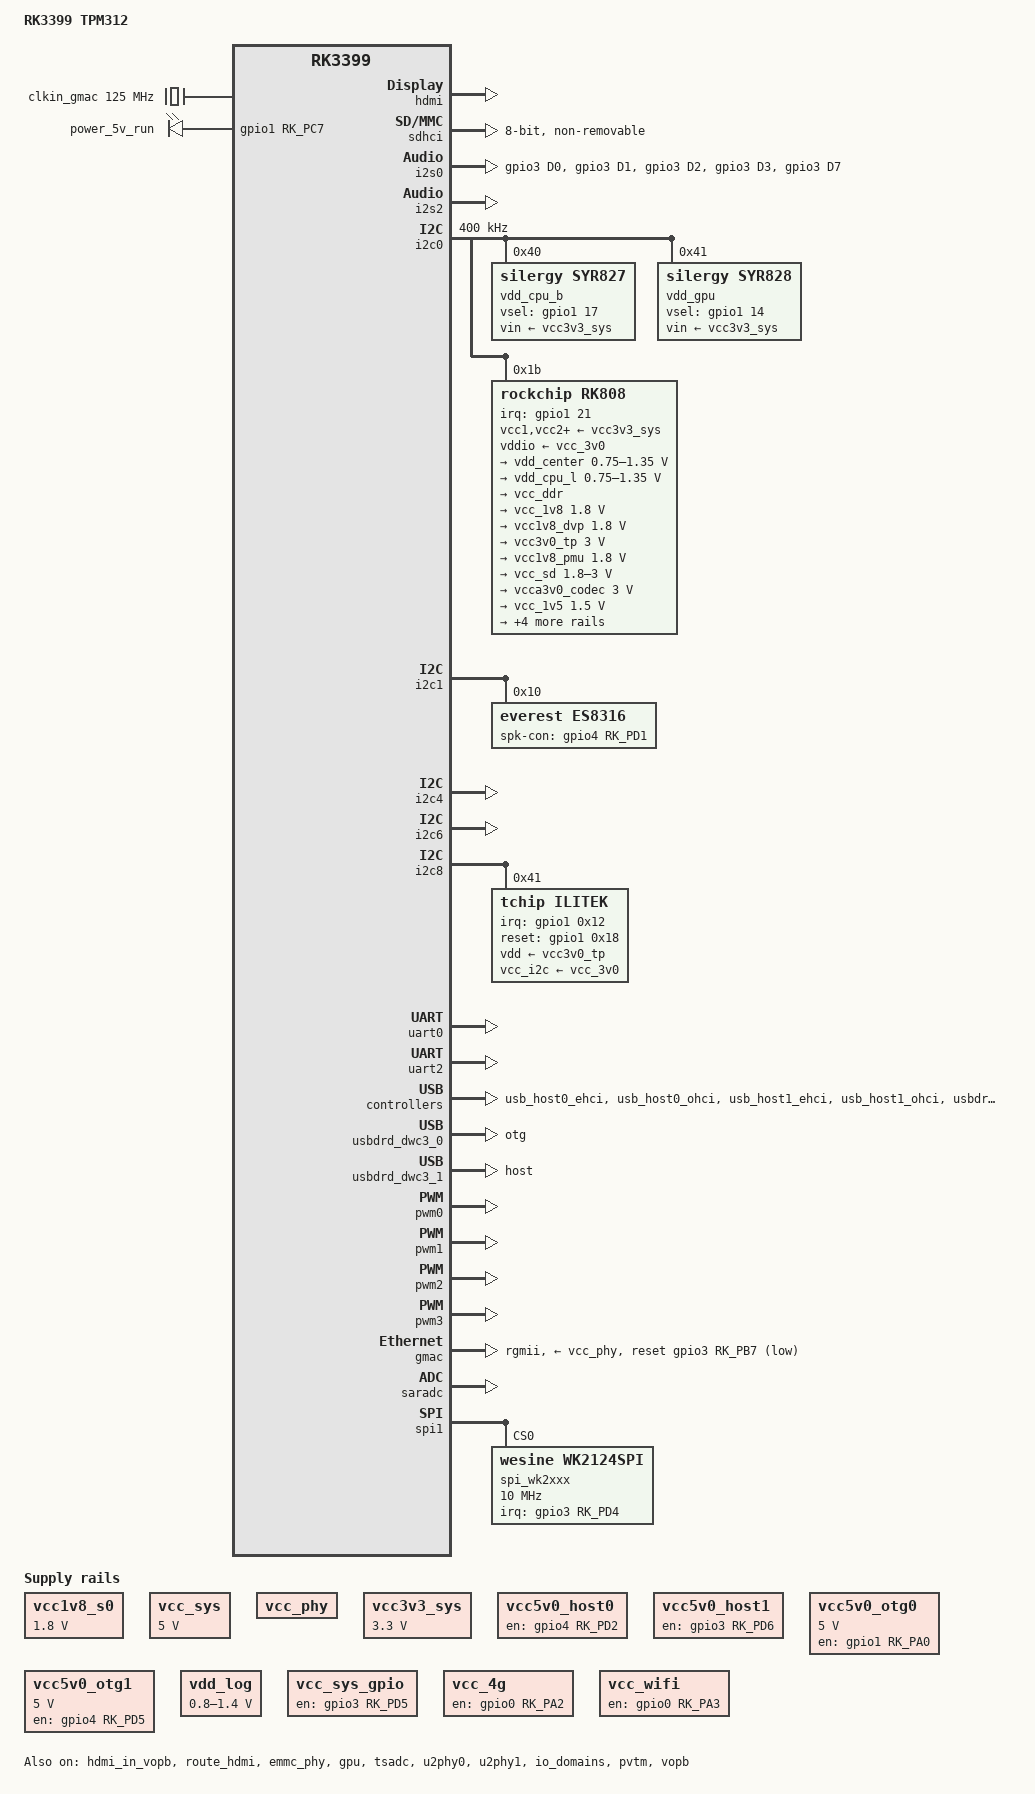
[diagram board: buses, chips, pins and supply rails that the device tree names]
/dts-v1/;

#include <dt-bindings/pwm/pwm.h>
#include <dt-bindings/input/input.h>
#include "rk3399.dtsi"
#include "rk3399-android.dtsi"
#include "rk3399-opp.dtsi"
#include "rk3399-vop-clk-set.dtsi"

&firmware_android {
	compatible = "android,firmware";
	boot_devices = "fe330000.sdhci";
	vbmeta {
		compatible = "android,vbmeta";
		parts = "vbmeta,boot,system,vendor,dtbo";
	};
	fstab {
		compatible = "android,fstab";
		vendor {
			compatible = "android,vendor";
			dev = "/dev/block/by-name/vendor";
			type = "ext4";
			mnt_flags = "ro,barrier=1,inode_readahead_blks=8";
			fsmgr_flags = "wait,avb";
		};
	};
};

/ {
	model = "RK3399 TPM312";
	compatible = "rk3399,tpm312", "rockchip,rk3399";
	chosen {
		bootargs = "earlycon=uart8250,mmio32,0xff1a0000 swiotlb=1 console=ttyFIQ0 androidboot.baseband=N/A androidboot.veritymode=enforcing androidboot.hardware=rk30board androidboot.console=ttyFIQ0 init=/init initrd=0x62000001,0x00800000 coherent_pool=1m";
	};

	vcc1v8_s0: vcc1v8-s0 {
		compatible = "regulator-fixed";
		regulator-name = "vcc1v8_s0";
		regulator-min-microvolt = <1800000>;
		regulator-max-microvolt = <1800000>;
		regulator-always-on;
	};

	vcc_sys: vcc-sys {
		compatible = "regulator-fixed";
		regulator-name = "vcc_sys";
		regulator-min-microvolt = <5000000>;
		regulator-max-microvolt = <5000000>;
		regulator-always-on;
	};

	vcc_phy: vcc-phy-regulator {
		compatible = "regulator-fixed";
		regulator-name = "vcc_phy";
		regulator-always-on;
		regulator-boot-on;
	};

	vcc3v3_sys: vcc3v3-sys {
		compatible = "regulator-fixed";
		regulator-name = "vcc3v3_sys";
		regulator-min-microvolt = <3300000>;
		regulator-max-microvolt = <3300000>;
		regulator-always-on;
	};

	vcc5v0_host0: vcc5v0-host0-regulator {
		pinctrl-0 = <&host0_vbus_drv>;
		gpio = <&gpio4 RK_PD2 GPIO_ACTIVE_HIGH>;
		regulator-name = "vcc5v0_host0";
		enable-active-high;
		compatible = "regulator-fixed";
		pinctrl-names = "default";
		regulator-always-on;
	};

	vcc5v0_host1: vcc5v0-host1-regulator {
		pinctrl-0 = <&host1_vbus_drv>;
		gpio = <&gpio3 RK_PD6 GPIO_ACTIVE_HIGH>;
		regulator-name = "vcc5v0_host1";
		enable-active-high;
		compatible = "regulator-fixed";
		pinctrl-names = "default";
		regulator-always-on;
	};

	vcc5v0_otg0: vcc5v0-otg0-regulator {
		pinctrl-0 = <&otg0_vbus_drv>;
		gpio = <&gpio1 RK_PA0 GPIO_ACTIVE_HIGH>;
		regulator-name = "vcc5v0_otg0";
		compatible = "regulator-fixed";
		pinctrl-names = "default";
		regulator-min-microvolt = <5000000>;
		regulator-max-microvolt = <5000000>;
		enable-active-high;
		//regulator-always-on;
	};

	vcc5v0_otg1: vcc5v0-otg1-regulator {
		pinctrl-0 = <&otg1_vbus_drv>;
		gpio = <&gpio4 RK_PD5 GPIO_ACTIVE_HIGH>;
		regulator-name = "vcc5v0_otg1";
		compatible = "regulator-fixed";
		pinctrl-names = "default";
		regulator-min-microvolt = <5000000>;
		regulator-max-microvolt = <5000000>;
		enable-active-high;
		//regulator-always-on;
	};

	vdd_log: vdd-log {
		compatible = "pwm-regulator";
		pwms = <&pwm3 0 25000 1>;
		regulator-name = "vdd_log";
		regulator-min-microvolt = <800000>;
		regulator-max-microvolt = <1400000>;
		regulator-always-on;
		regulator-boot-on;
		rockchip,pwm_id = <3>;
		rockchip,pwm_voltage = <900000>;
	};



	clkin_gmac: external-gmac-clock {
		compatible = "fixed-clock";
		clock-frequency = <125000000>;
		clock-output-names = "clkin_gmac";
		#clock-cells = <0>;
	};

	es8316-sound {
		compatible = "simple-audio-card";
		simple-audio-card,format = "i2s";
		simple-audio-card,name = "rockchip,es8316-codec";
		simple-audio-card,mclk-fs = <256>;
		simple-audio-card,widgets =
			"Microphone", "Mic Jack",
			"Headphone", "Headphone Jack";
		simple-audio-card,routing =
			"Mic Jack", "MICBIAS1",
			"IN1P", "Mic Jack",
			"Headphone Jack", "HPOL",
			"Headphone Jack", "HPOR";
		simple-audio-card,cpu {
			sound-dai = <&i2s0>;
		};
		simple-audio-card,codec {
			sound-dai = <&es8316>;
		};
	};

	hdmi_sound: hdmi-sound {
		status = "okay";
		compatible = "simple-audio-card";
		simple-audio-card,format = "i2s";
		simple-audio-card,mclk-fs = <256>;
		simple-audio-card,name = "rockchip,hdmi";

		simple-audio-card,cpu {
			sound-dai = <&i2s2>;
		};
		simple-audio-card,codec {
			sound-dai = <&dw_hdmi_audio>;
		};
	};

	dw_hdmi_audio: dw-hdmi-audio {
		status = "okay";
		compatible = "rockchip,dw-hdmi-audio";
		#sound-dai-cells = <0>;
	};

	hdmi_codec: hdmi-codec {
		compatible = "simple-audio-card";
		simple-audio-card,format = "i2s";
		simple-audio-card,mclk-fs = <256>;
		simple-audio-card,name = "rockchiphdmi";

		simple-audio-card,cpu {
			sound-dai = <&i2s2>;
		};

		simple-audio-card,codec {
			sound-dai = <&hdmi>;
		};
	};

    leds {
		compatible = "gpio-leds";
        pinctrl-names = "default";
		pinctrl-0 = <&leds_pins>;
		power5v-led {
	        gpios = <&gpio1 RK_PC7 GPIO_ACTIVE_HIGH>;
			default-state = "on";
			label = "power_5v_run";
		};
	};

	vcc5v0-sys {
		regulator-boot-on;
		pinctrl-0 = <&vcc5sys_gpio>;
		gpio = <&gpio3 RK_PD5 GPIO_ACTIVE_HIGH>;
		regulator-name = "vcc_sys_gpio";
		enable-active-high;
		compatible = "regulator-fixed";
		pinctrl-names = "default";
		regulator-always-on;
	};

	vcc-4g {
		regulator-boot-on;
		pinctrl-0 = <&vcc_4g_gpio>;
		gpio = <&gpio0 RK_PA2 GPIO_ACTIVE_HIGH>;
		regulator-name = "vcc_4g";
		enable-active-high;
		compatible = "regulator-fixed";
		pinctrl-names = "default";
		regulator-always-on;
	};

	vcc-wifi {
		pinctrl-0 = <&wifi_host_wake_l>;
		gpio = <&gpio0 RK_PA3 GPIO_ACTIVE_HIGH>;
		regulator-name = "vcc_wifi";
		enable-active-high;
		compatible = "regulator-fixed";
		pinctrl-names = "default";
		regulator-always-on;
	};

	test-power {
		status = "okay";
	};
};

&hdmi {
	pinctrl-names = "default";
	pinctrl-0 = <&hdmi_i2c_xfer>, <&hdmi_cec>;
	status = "okay";
	rockchip,phy-table =
		<74250000 0x8009 0x0004 0x0272>,
		<165000000 0x802b 0x0004 0x0209>,
		<297000000 0x8039 0x0005 0x028d>,
		<594000000 0x8039 0x0000 0x019d>,
		<000000000 0x0000 0x0000 0x0000>;
};

&hdmi_in_vopb{
    status = "okay";
};

&hdmi_in_vopl {
	status = "disabled";
};

&route_hdmi {
	status = "okay";
};

&dp_in_vopb {
	status = "disabled";
};

&sdmmc {
	clock-frequency = <150000000>;
	max-frequency = <150000000>;
	supports-sd;
	bus-width = <4>;
	cap-mmc-highspeed;
	cap-sd-highspeed;
	disable-wp;
	num-slots = <1>;
	// sd-uhs-sdr104;
	vqmmc-supply = <&vcc_sd>;
	pinctrl-names = "default";
	pinctrl-0 = <&sdmmc_clk &sdmmc_cmd &sdmmc_cd &sdmmc_bus4>;
	card-detect-delay = <800>;
	status = "disabled";
};

&sdio0 {

	status = "disabled";
};

&emmc_phy {
	status = "okay";
};

&sdhci {
	bus-width = <8>;
	mmc-hs400-1_8v;
	supports-emmc;
	non-removable;
	mmc-hs400-enhanced-strobe;
	//keep-power-in-suspend;
	status = "okay";
};

&i2s0 {
	status = "okay";
	rockchip,i2s-broken-burst-len;
	rockchip,playback-channels = <2>;
	rockchip,capture-channels = <2>;
	pinctrl-names = "default";
	pinctrl-0 = <&i2s0_2ch_bus>;
	assigned-clocks = <&cru SCLK_I2S0_DIV>;
	assigned-clock-parents = <&cru PLL_GPLL>;
	#sound-dai-cells = <0>;
};

&i2s1 {
	status = "disabled";
	#sound-dai-cells = <0>;
};

&i2s2{
	#sound-dai-cells = <0>;
    status = "okay";
};


&i2c0 {
	status = "okay";
	i2c-scl-rising-time-ns = <168>;
	i2c-scl-falling-time-ns = <4>;
	clock-frequency = <400000>;

	vdd_cpu_b: syr827@40 {
		compatible = "silergy,syr827";
		reg = <0x40>;
		regulator-compatible = "fan53555-reg";
		pinctrl-0 = <&vsel1_gpio>;
		vsel-gpios = <&gpio1 17 GPIO_ACTIVE_HIGH>;
		regulator-name = "vdd_cpu_b";
		regulator-min-microvolt = <712500>;
		regulator-max-microvolt = <1500000>;
		regulator-ramp-delay = <1000>;
		fcs,suspend-voltage-selector = <1>;
		regulator-always-on;
		regulator-boot-on;
		vin-supply = <&vcc3v3_sys>;
		regulator-state-mem {
			regulator-off-in-suspend;
		};
	};

	vdd_gpu: syr828@41 {
		compatible = "silergy,syr828";
		reg = <0x41>;
		vin-supply = <&vcc3v3_sys>;
		regulator-compatible = "fan53555-reg";
		pinctrl-0 = <&vsel2_gpio>;
		vsel-gpios = <&gpio1 14 GPIO_ACTIVE_HIGH>;
		regulator-name = "vdd_gpu";
		regulator-min-microvolt = <712500>;
		regulator-max-microvolt = <1500000>;
		regulator-ramp-delay = <1000>;
		fcs,suspend-voltage-selector = <1>;
		regulator-always-on;
		regulator-boot-on;
		regulator-initial-state = <3>;
		regulator-state-mem {
			regulator-off-in-suspend;
		};
	};

	rk808: pmic@1b {
		compatible = "rockchip,rk808";
		reg = <0x1b>;
		interrupt-parent = <&gpio1>;
		interrupts = <21 IRQ_TYPE_LEVEL_LOW>;
		pinctrl-names = "default";
		pinctrl-0 = <&pmic_int_l &pmic_dvs2>;
		rockchip,system-power-controller;
		wakeup-source;
		#clock-cells = <1>;
		clock-output-names = "xin32k", "rk808-clkout2";

		vcc1-supply = <&vcc3v3_sys>;
		vcc2-supply = <&vcc3v3_sys>;
		vcc3-supply = <&vcc3v3_sys>;
		vcc4-supply = <&vcc3v3_sys>;
		vcc6-supply = <&vcc3v3_sys>;
		vcc7-supply = <&vcc3v3_sys>;
		vcc8-supply = <&vcc3v3_sys>;
		vcc9-supply = <&vcc3v3_sys>;
		vcc10-supply = <&vcc3v3_sys>;
		vcc11-supply = <&vcc3v3_sys>;
		vcc12-supply = <&vcc3v3_sys>;
		vddio-supply = <&vcc_3v0>;

		regulators {
			vdd_center: DCDC_REG1 {
				regulator-name = "vdd_center";
				regulator-min-microvolt = <750000>;
				regulator-max-microvolt = <1350000>;
				regulator-ramp-delay = <6001>;
				regulator-always-on;
				regulator-boot-on;
				regulator-state-mem {
					regulator-off-in-suspend;
				};
			};

			vdd_cpu_l: DCDC_REG2 {
				regulator-name = "vdd_cpu_l";
				regulator-min-microvolt = <750000>;
				regulator-max-microvolt = <1350000>;
				regulator-ramp-delay = <6001>;
				regulator-always-on;
				regulator-boot-on;
				regulator-state-mem {
					regulator-off-in-suspend;
				};
			};

			vcc_ddr: DCDC_REG3 {
				regulator-name = "vcc_ddr";
				regulator-always-on;
				regulator-boot-on;
				regulator-state-mem {
					regulator-on-in-suspend;
				};
			};

			vcc_1v8: DCDC_REG4 {
				regulator-name = "vcc_1v8";
				regulator-min-microvolt = <1800000>;
				regulator-max-microvolt = <1800000>;
				regulator-always-on;
				regulator-boot-on;
				regulator-state-mem {
					regulator-on-in-suspend;
					regulator-suspend-microvolt = <1800000>;
				};
			};

			vcc1v8_dvp: LDO_REG1 {
				regulator-name = "vcc1v8_dvp";
				regulator-min-microvolt = <1800000>;
				regulator-max-microvolt = <1800000>;
				regulator-always-on;
				regulator-boot-on;
				regulator-state-mem {
					regulator-on-in-suspend;
				};
			};

			vcc3v0_tp: LDO_REG2 {
				regulator-name = "vcc3v0_tp";
				regulator-min-microvolt = <3000000>;
				regulator-max-microvolt = <3000000>;
				regulator-always-on;
				regulator-boot-on;
				regulator-state-mem {
					regulator-off-in-suspend;
				};
			};

			vcc1v8_pmu: LDO_REG3 {
				regulator-name = "vcc1v8_pmu";
				regulator-min-microvolt = <1800000>;
				regulator-max-microvolt = <1800000>;
				regulator-always-on;
				regulator-boot-on;
				regulator-state-mem {
					regulator-on-in-suspend;
					regulator-suspend-microvolt = <1800000>;
				};
			};

			vcc_sd: LDO_REG4 {
				regulator-name = "vcc_sd";
				regulator-min-microvolt = <1800000>;
				regulator-max-microvolt = <3000000>;
				regulator-always-on;
				regulator-boot-on;
				regulator-state-mem {
					regulator-on-in-suspend;
					regulator-suspend-microvolt = <3000000>;
				};
			};

			vcca3v0_codec: LDO_REG5 {
				regulator-name = "vcca3v0_codec";
				regulator-min-microvolt = <3000000>;
				regulator-max-microvolt = <3000000>;
				regulator-always-on;
				regulator-boot-on;
				regulator-state-mem {
					regulator-off-in-suspend;
				};
			};

			vcc_1v5: LDO_REG6 {
				regulator-name = "vcc_1v5";
				regulator-min-microvolt = <1500000>;
				regulator-max-microvolt = <1500000>;
				regulator-always-on;
				regulator-boot-on;
				regulator-state-mem {
					regulator-on-in-suspend;
					regulator-suspend-microvolt = <1500000>;
				};
			};

			vcca1v8_codec: LDO_REG7 {
				regulator-name = "vcca1v8_codec";
				regulator-min-microvolt = <1800000>;
				regulator-max-microvolt = <1800000>;
				regulator-always-on;
				regulator-boot-on;
				regulator-state-mem {
					regulator-off-in-suspend;
				};
			};

			vcc_3v0: LDO_REG8 {
				regulator-name = "vcc_3v0";
				regulator-min-microvolt = <3000000>;
				regulator-max-microvolt = <3000000>;
				regulator-always-on;
				regulator-boot-on;
				regulator-state-mem {
					regulator-on-in-suspend;
					regulator-suspend-microvolt = <3000000>;
				};
			};

			vcc3v3_s3: SWITCH_REG1 {
				regulator-name = "vcc3v3_s3";
				regulator-always-on;
				regulator-boot-on;
				regulator-state-mem {
					regulator-off-in-suspend;
				};
			};

			vcc3v3_s0: SWITCH_REG2 {
				regulator-name = "vcc3v3_s0";
				regulator-always-on;
				regulator-boot-on;
				regulator-state-mem {
					regulator-off-in-suspend;
				};
			};
		};
	};
};

&i2c1 {
	i2c-scl-rising-time-ns = <300>;
	i2c-scl-falling-time-ns = <15>;
	status = "okay";   
    es8316: codec@10 {
		#sound-dai-cells = <0>;
		compatible = "everest,es8316";
		reg = <0x10>;
		clocks = <&cru SCLK_I2S_8CH_OUT>;
		clock-names = "mclk";
		pinctrl-names = "default";
		pinctrl-0 = <&i2s_8ch_mclk>;
		spk-con-gpio = <&gpio4 RK_PD1 GPIO_ACTIVE_HIGH>;
    };
};

&i2c3 {
	i2c-scl-rising-time-ns = <450>;
	i2c-scl-falling-time-ns = <15>;
	status = "disabled";
};

&i2c4 {
    i2c-scl-rising-time-ns = <600>;
    i2c-scl-falling-time-ns = <20>;
    status = "okay";
    mpu6500@68 {
        status = "disabled";
        compatible = "invensense,mpu6500";
        reg = <0x68>;
        irq-gpio = <&gpio1 0x16 0x01>;
        mpu-int_config = <0x10>;
        mpu-level_shifter = <0x00>;
        mpu-orientation = <0x00 0x01 0x00 0x01 0x00 0x00 0x00 0x00 0x01>;
        orientation-x = <0x01>;
        orientation-y = <0x00>;
        orientation-z = <0x00>;
        mpu-debug = <0x01>;
    };
};

&i2c6 {
    status = "okay";
};

&i2c8 {
    status = "okay";  
    ilitek@41 {
        compatible = "tchip,ilitek";
        reg = <0x41>;
        vdd-supply = <&vcc3v0_tp>;
        vcc_i2c-supply = <&vcc_3v0>;
        ilitek,irq-gpio = <&gpio1 0x12 0x00>;
        ilitek,reset-gpio = <&gpio1 0x18 0x00>;
        ilitek,vbus = "vcc_i2c";
        ilitek,vdd = "vdd";
        ilitek,name = "ilitek_i2c";
    };
};

&cpu_l0 {
	cpu-supply = <&vdd_cpu_l>;
};

&cpu_l1 {
	cpu-supply = <&vdd_cpu_l>;
};

&cpu_l2 {
	cpu-supply = <&vdd_cpu_l>;
};

&cpu_l3 {
	cpu-supply = <&vdd_cpu_l>;
};

&cpu_b0 {
	cpu-supply = <&vdd_cpu_b>;
};

&cpu_b1 {
	cpu-supply = <&vdd_cpu_b>;
};

&gpu {
	status = "okay";
	mali-supply = <&vdd_gpu>;
};

&threshold {
	temperature = <85000>;
};

&target {
	temperature = <100000>;
};

&soc_crit {
	temperature = <105000>;
};


&tsadc {
	/* tshut mode 0:CRU 1:GPIO */
	rockchip,hw-tshut-mode = <1>;
	/* tshut polarity 0:LOW 1:HIGH */
	rockchip,hw-tshut-polarity = <1>;
	rockchip,hw-tshut-temp = <110000>;
	status = "okay";
};

&u2phy0 {
	status = "okay";

	u2phy0_otg: otg-port {
		vbus-supply = <&vcc5v0_otg0>;
		status = "okay";
	};

	u2phy0_host: host-port {
		phy-supply = <&vcc5v0_host0>;
		status = "okay";
	};
};

&u2phy1 {
	status = "okay";

	u2phy1_otg: otg-port {
		vbus-supply = <&vcc5v0_otg1>;
		status = "okay";
	};

	u2phy1_host: host-port {
		phy-supply = <&vcc5v0_host1>;
		status = "okay";
	};
};

&uart0 {
	pinctrl-names = "default";
	pinctrl-0 = <&uart0_xfer &uart0_cts>;
	status = "okay";
};

&uart1 {
	status = "disabled";
};

&uart2 {
	status = "okay";
	assigned-clocks = <&cru SCLK_UART_SRC>;
	assigned-clock-parents = <&cru PLL_GPLL>;
};


&usb_host0_ehci {
	status = "okay";
};

&usb_host0_ohci {
	status = "okay";
};

&usb_host1_ehci {
	status = "okay";
};

&usb_host1_ohci {
	status = "okay";
};

&usbdrd3_0 {
	extcon = <&u2phy0>;
	status = "okay";
};

&usbdrd_dwc3_0 {
	dr_mode = "otg";
	status = "okay";
};

&usbdrd3_1 {
	status = "okay";
};

&usbdrd_dwc3_1 {
	dr_mode = "host";
	status = "okay";
};

&pwm0 {
	status = "okay";
};

&pwm1 {
	status = "okay";
};

&pwm2 {
	status = "okay";
};

&pwm3 {
	status = "okay";
};

&gmac {
	assigned-clocks = <&cru SCLK_RMII_SRC>;
	assigned-clock-parents = <&clkin_gmac>;
	clock_in_out = "input";
	phy-supply = <&vcc_phy>;
	phy-mode = "rgmii";
	pinctrl-names = "default";
	pinctrl-0 = <&rgmii_pins>;
	snps,reset-gpio = <&gpio3 RK_PB7 GPIO_ACTIVE_LOW>;
	snps,reset-active-low;
	snps,reset-delays-us = <0 10000 50000>;
	tx_delay = <0x28>;
	rx_delay = <0x11>;
	status = "okay";
};

&saradc {
	status = "okay";
};

&io_domains {
	status = "okay";
	audio-supply = <&vcca1v8_codec>;
	bt656-supply = <&vcc1v8_dvp>;
	gpio1830-supply = <&vcc_3v0>;
	sdmmc-supply = <&vcc_sd>;
};


&pinctrl {

	gmac {
		rgmii_sleep_pins: rgmii-sleep-pins {
			rockchip,pins =
				<3 RK_PB7 RK_FUNC_GPIO &pcfg_output_low>;
		};
	};

	pmic {
		vcc5sys_gpio: vcc5sys-gpio {
				rockchip,pins = <3 RK_PD5 RK_FUNC_GPIO &pcfg_pull_down>;
			};

		vcc_4g_gpio: vcc-4g-gpio {
				rockchip,pins = <0 RK_PA2 RK_FUNC_GPIO &pcfg_pull_none>;
			};

		pmic_int_l: pmic-int-l {
			rockchip,pins =
				<1 RK_PC6 RK_FUNC_GPIO &pcfg_pull_up>;
		};

		pmic_dvs2: pmic-dvs2 {
			rockchip,pins =
				<1 RK_PA5 RK_FUNC_GPIO &pcfg_pull_down>;
		};

		vsel1_gpio: vsel1-gpio {
			rockchip,pins =
				<1 RK_PC1 RK_FUNC_GPIO &pcfg_pull_down>;
		};

		vsel2_gpio: vsel2-gpio {
			rockchip,pins =
				<1 RK_PB6 RK_FUNC_GPIO &pcfg_pull_down>;
		};

        wk2_irq:wk2-irq {
            rockchip,pins = <3 RK_PD4 0 &pcfg_pull_up>;
        };


	};

	u2phy0 {
		otg0_vbus_drv: otg0-vbus-drv {
			rockchip,pins = <1 RK_PA0 RK_FUNC_GPIO &pcfg_pull_none>;
		};
		host0_vbus_drv: host0-vbus-drv {
			rockchip,pins = <4 RK_PD2 RK_FUNC_GPIO &pcfg_pull_none>;
		};
	};

	u2phy1 {
		otg1_vbus_drv: otg1-vbus-drv {
			rockchip,pins = <4 RK_PD5 RK_FUNC_GPIO &pcfg_pull_none>;
		};
		host1_vbus_drv: host1-vbus-drv {
			rockchip,pins = <3 RK_PD6 RK_FUNC_GPIO &pcfg_pull_none>;
		};
	};

	wifi {
		wifi_host_wake_l: wifi-host-wake-l {
			rockchip,pins = <0 RK_PA3 RK_FUNC_GPIO &pcfg_pull_none>;
		};
	};

	uart1 {
		uart1_xfer: uart1-xfer {
			rockchip,pins =
			    <3 RK_PC3 2 &pcfg_pull_up>,
			    <3 RK_PC4 2 &pcfg_pull_none>;
		};
	};

	leds {
		leds_pins: leds-pins {
			rockchip,pins = <1 RK_PC7 RK_FUNC_GPIO &pcfg_pull_up>;
		};
	};

	i2s0 {
		i2s0_2ch_bus: i2s0-2ch-bus {
			rockchip,pins =
				<3 RK_PD0 1 &pcfg_pull_none>,
				<3 RK_PD1 1 &pcfg_pull_none>,
				<3 RK_PD2 1 &pcfg_pull_none>,
				<3 RK_PD3 1 &pcfg_pull_none>,
				<3 RK_PD7 1 &pcfg_pull_none>;
		};

		i2s_8ch_mclk: i2s-8ch-mclk {
			rockchip,pins = <4 RK_PA0 1 &pcfg_pull_none>;
		};
	};

};

&spi1 {
	status = "okay";
	interrupts = <0x00 0x35 0x04 0x00>;
	dmas = <0x43 0x0c 0x43 0x0d>;
	dma-names = "tx\0rx";
	interrupts = <GIC_SPI 53 IRQ_TYPE_LEVEL_HIGH 0>;
	dmas = <&dmac_peri 12>, <&dmac_peri 13>;
	dma-names = "tx", "rx";
    max-freq = <48000000>;
    spi_wk2xxx@0 {
        status = "okay";
        compatible = "wesine,wk2124spi","wkmic,wk2124spi";
        reg = <0x00>;
        spi-max-frequency = <0x989680>;
        poll_mode = <0x00>;
        type = <0x00>;
        enable_dma = <0x00>;
        irq_gpio = <&gpio3 RK_PD4 4>;
        pinctrl-names = "default";
        pinctrl-0 = <&wk2_irq>;
    };
};

&pvtm {
	status = "okay";
};

&pmu_pvtm {
	status = "okay";
};

&pmu_io_domains {
	status = "okay";
	pmu1830-supply = <&vcc_3v0>;
};

&rockchip_suspend {
	status = "okay";
	rockchip,sleep-debug-en = <1>;
	rockchip,virtual-poweroff = <0>;
	rockchip,sleep-mode-config = <
		(0
		| RKPM_SLP_ARMPD
		| RKPM_SLP_PERILPPD
		| RKPM_SLP_DDR_RET
		| RKPM_SLP_PLLPD
		| RKPM_SLP_CENTER_PD
		| RKPM_SLP_AP_PWROFF
		)
	>;
	rockchip,wakeup-config = <
		(0
		| RKPM_GPIO_WKUP_EN
		| RKPM_PWM_WKUP_EN
		| RKPM_USB_WKUP_EN
		| RKPM_USB_LINESTATE_WKUP_EN
		)
	>;
	rockchip,pwm-regulator-config = <
		(0
		| PWM2_REGULATOR_EN
		)
	>;
	rockchip,power-ctrl =
		<&gpio1 17 GPIO_ACTIVE_HIGH>,
		<&gpio1 14 GPIO_ACTIVE_HIGH>;
};

&vopb {
	assigned-clocks = <&cru DCLK_VOP0_DIV>;
	assigned-clock-parents = <&cru PLL_VPLL>;
    status = "okay";
    rockchip,grf = <&grf>;
};

&vopl {
	assigned-clocks = <&cru DCLK_VOP1_DIV>;
	assigned-clock-parents = <&cru PLL_CPLL>;
    status = "disabled";
    rockchip,grf = <&grf>;
};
